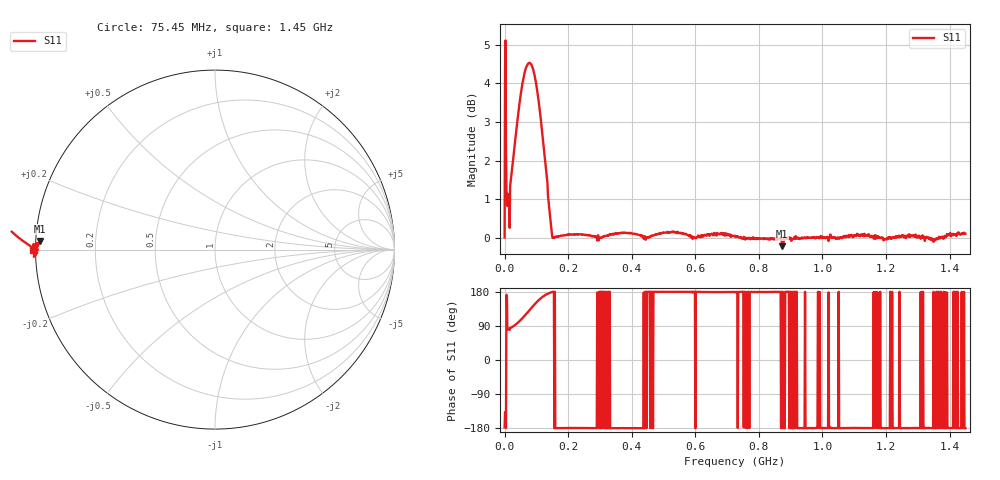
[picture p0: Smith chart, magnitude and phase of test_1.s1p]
! Created with skrf 1.11.0 (http://scikit-rf.org).
# Hz S RI R 50.0
!freq ReS11 ImS11
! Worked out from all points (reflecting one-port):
!   1001 points, 50 kHz to 1.45 GHz, reference 50 ohm
!   lowest |S11| = -0.2 dB at 872.9 MHz (marker M1), VSWR 80.13, Z = 0.624 + j1.25 ohm
!   phase of S11 starts at -178 deg and turns -2 deg over the sweep
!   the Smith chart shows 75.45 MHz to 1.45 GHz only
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50000  -0.9999 -0.0432
8749700  0.1907 1.083
1.019965e7  0.1781 1.093
1.16496e7  0.1686 1.104
1.599945e7  0.1911 1.012
2.32492e7  0.0709 1.223
3.629875e7  -0.1071 1.367
4.64484e7  -0.3108 1.454
5.51481e7  -0.5257 1.486
6.38478e7  -0.7595 1.456
7.399745e7  -1.019 1.338
8.7047e7  -1.277 1.07
9.86466e7  -1.386 0.7759
1.073463e8  -1.392 0.5626
1.17496e8  -1.336 0.3519
1.261956e8  -1.259 0.2136
1.363453e8  -1.132 0.0997
1.43595e8  -1.061 0.0419
1.522948e8  -1.002 0.000728
1.812938e8  -1.006 -0.00459
3.625375e8  -1.013 -0.00331
5.437812e8  -1.018 5.4e-05
7.25025e8  -1.006 0.00954
8.729199e8  -0.9741 0.0486
9.062688e8  -0.9963 0.00295
1.087512e9  -1.008 -0.013
1.268756e9  -1.007 -0.00373
1.45e9  -1.012 -0.000609
